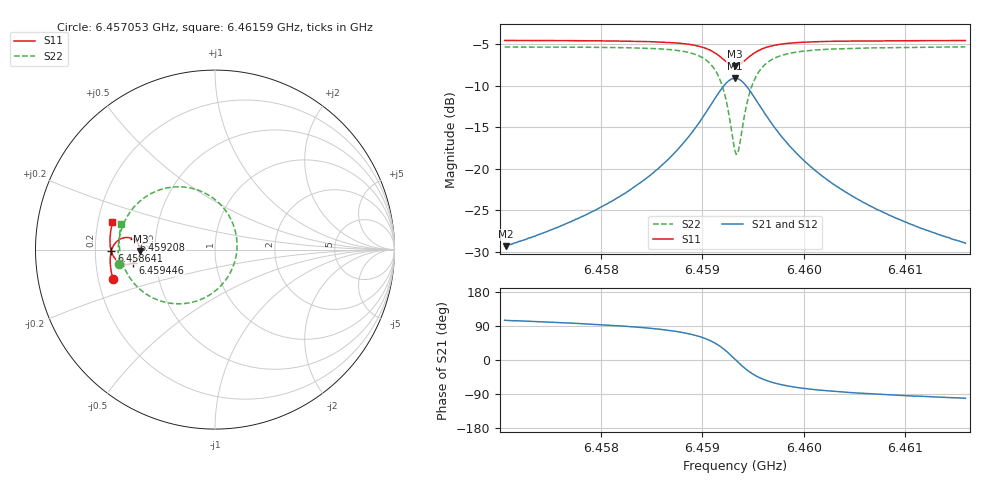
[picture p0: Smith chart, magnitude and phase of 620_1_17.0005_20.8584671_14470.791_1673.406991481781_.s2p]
#  HZ  S  RI  R  50.00
! Rohde & Schwarz Vector Network Analyzer
! Rohde-Schwarz,ZNB20-2Port,1311601062101988,3.16
! Created: UTC 3/20/2024, 11:19:53 PM
! freq[Hz]  re:S11  im:S11  re:S21  im:S21  re:S12  im:S12  re:S22  im:S22
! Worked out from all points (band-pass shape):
!   401 points, 6.457053 GHz to 6.46159 GHz, reference 50 ohm
!   highest |S21| = -9.10 dB at 6.459322 GHz (marker M1); lowest = -29.3 dB at 6.457065 GHz (marker M2)
!   |S21| within 3 dB of the highest: 6.459095 GHz to 6.459549 GHz (453.9 kHz wide, 0.00703 % of centre)
!   lowest |S11| = -7.6 dB at 6.459322 GHz (marker M3), VSWR 2.42, Z = 20.6 - j0.387 ohm
!   |S11| at or under -10 dB: nowhere
!   |S22| runs from -18.3 to -5.3 dB; largest |S21 - S12| = 0.014
!   S11 on the Smith chart (normalised r, x): 6.457053 GHz: 0.26, -0.13; 6.458641 GHz: 0.27, -0.01; 6.459208 GHz: 0.38, +0.05; 6.459446 GHz: 0.37, -0.07; 6.46159 GHz: 0.26, +0.12
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6.4570534e9  -0.5683 -0.1664  -0.00872 0.0331  -0.007 0.033  -0.5349 -0.0775
6.4570647e9  -0.5685 -0.1654  -0.0086 0.0331  -0.00684 0.0331  -0.535 -0.0765
6.4578132e9  -0.5816 -0.0995  -0.00514 0.0512  -0.00261 0.0505  -0.5389 0.0125
6.4582442e9  -0.584 -0.0559  0.00122 0.0716  0.00453 0.0703  -0.5294 0.0821
6.4585731e9  -0.5798 -0.0161  0.0153 0.1002  0.0192 0.0972  -0.5031 0.158
6.4586411e9  -0.5775 -0.00654  0.0209 0.1085  0.0249 0.1054  -0.4928 0.178
6.4588339e9  -0.5644 0.0237  0.0479 0.1398  0.0521 0.1347  -0.4418 0.2476
6.4589814e9  -0.5413 0.05  0.0941 0.1704  0.0973 0.1636  -0.3565 0.312
6.4591175e9  -0.4968 0.0672  0.1826 0.1866  0.1833 0.1791  -0.1945 0.3497
6.4592082e9  -0.4517 0.0566  0.2736 0.1544  0.2738 0.1485  -0.0255 0.2972
6.4592762e9  -0.4224 0.0238  0.3345 0.0812  0.3368 0.0758  0.0908 0.1648
6.4593216e9  -0.4155 -0.00775  0.3507 0.0119  0.3546 0.00507  0.1229 0.0352
6.4593556e9  -0.4196 -0.0318  0.3446 -0.0411  0.3487 -0.0505  0.1105 -0.0661
6.459401e9  -0.4356 -0.0583  0.3153 -0.1018  0.3176 -0.1142  0.0509 -0.1808
6.4594464e9  -0.4579 -0.0748  0.2723 -0.1434  0.2716 -0.157  -0.0364 -0.2565
6.4595371e9  -0.502 -0.0817  0.1859 -0.1744  0.1796 -0.1862  -0.2089 -0.3022
6.4596845e9  -0.5464 -0.0611  0.0967 -0.1598  0.088 -0.1661  -0.379 -0.2507
6.4598433e9  -0.5681 -0.0333  0.0515 -0.1311  0.0436 -0.1338  -0.4601 -0.1767
6.4600815e9  -0.5808 0.00234  0.022 -0.0989  0.0161 -0.0994  -0.5082 -0.0931
6.4604217e9  -0.5855 0.0431  0.00601 -0.0716  0.00181 -0.071  -0.5296 -0.0131
6.4608413e9  -0.5833 0.0855  -0.00174 -0.0526  -0.0047 -0.0517  -0.5334 0.0552
6.4615898e9  -0.5713 0.1521  -0.00676 -0.035  -0.0085 -0.0341  -0.5219 0.1447
